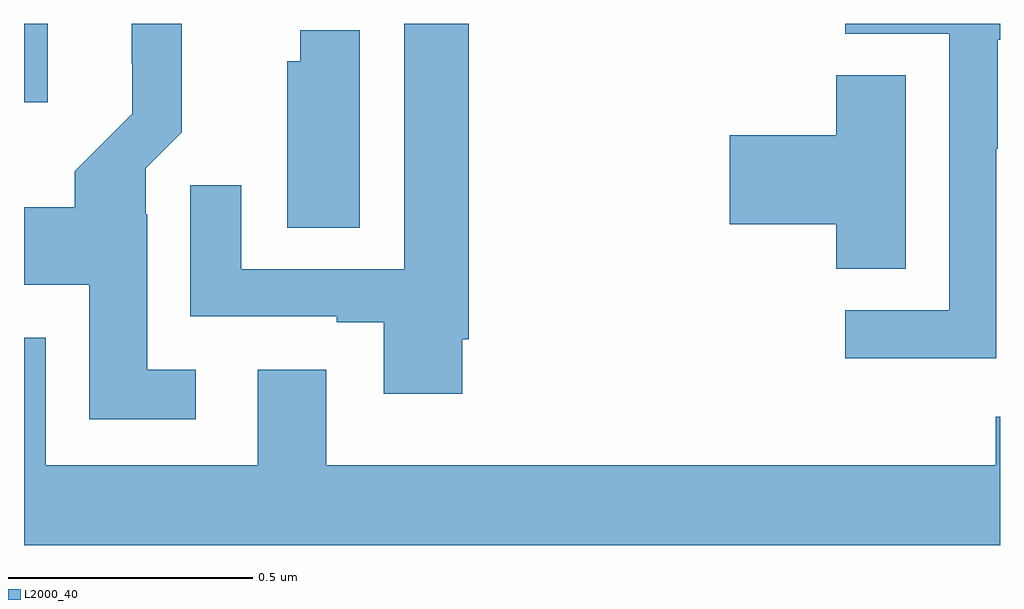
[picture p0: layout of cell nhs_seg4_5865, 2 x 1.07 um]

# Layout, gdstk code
import gdstk
lib = gdstk.Library(unit=1e-6, precision=1e-09)
def R(c, l, rs):  # rectangles x0, y0, x1, y1
    for r in rs: c.add(gdstk.rectangle(r[:2], r[2:], *l))
def P(c, l, *ps):  # polygons
    for p in ps: c.add(gdstk.Polygon(p, *l))
L2000_40 = (2000, 40)

nhs_seg4_5865 = lib.new_cell('nhs_seg4_5865')
R(nhs_seg4_5865, L2000_40, [(183,785.739,183.049,785.9)])
P(nhs_seg4_5865, L2000_40, [(183.352,785.191),(183.253,785.191),(183.253,785.51),(183.249,785.51),(183.249,785.604),(183.323,785.678),(183.323,785.9),(183.221,785.9),(183.221,785.818),(183.222,785.818),(183.222,785.716),(183.104,785.598),(183.104,785.524),(183,785.524),(183,785.366),(183.134,785.366),(183.134,785.09),(183.352,785.09)],
  [(183.898,785.254),(183.911,785.254),(183.911,785.9),(183.779,785.9),(183.779,785.397),(183.445,785.397),(183.445,785.569),(183.341,785.569),(183.341,785.301),(183.641,785.301),(183.641,785.289),(183.737,785.289),(183.737,785.142),(183.898,785.142)],
  [(184.992,785.644),(184.995,785.644),(184.995,785.868),(185,785.868),(185,785.9),(184.683,785.9),(184.683,785.88),(184.896,785.88),(184.896,785.313),(184.683,785.313),(184.683,785.215),(184.992,785.215)],
  [(183.688,785.887),(183.566,785.887),(183.566,785.823),(183.539,785.823),(183.539,785.482),(183.688,785.482)],
  [(184.807,785.795),(184.664,785.795),(184.664,785.672),(184.446,785.672),(184.446,785.489),(184.664,785.489),(184.664,785.398),(184.807,785.398)],
  [(185,785.095),(184.991,785.095),(184.991,784.996),(183.619,784.996),(183.619,785.191),(183.479,785.191),(183.479,784.996),(183.045,784.996),(183.045,785.257),(183,785.257),(183,784.832),(185,784.832)])

lib.write_gds('nhs_seg4_5865.gds')
